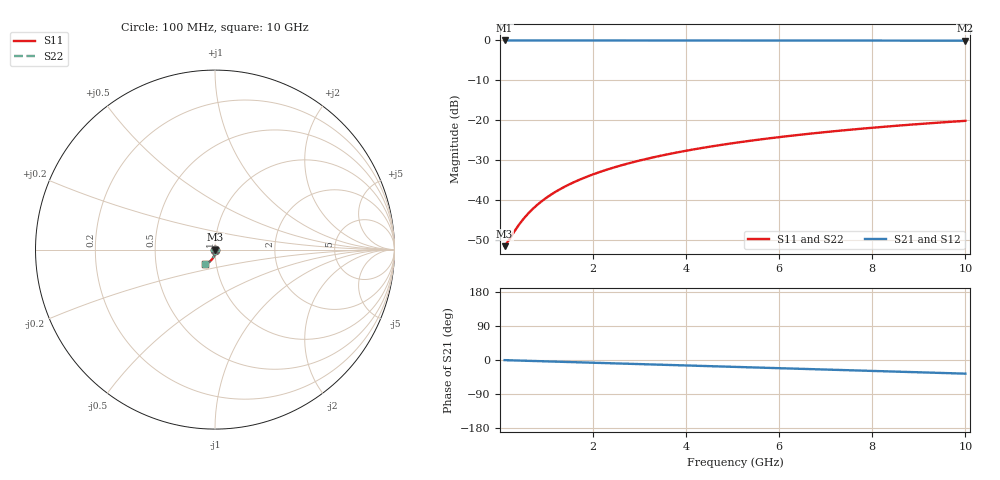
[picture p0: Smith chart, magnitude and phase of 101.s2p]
# Hz S RI R 50.00
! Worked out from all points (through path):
!   100 points, 100 MHz to 10 GHz, reference 50 ohm
!   highest |S21| = -0.02 dB at 100 MHz (marker M1); lowest = -0.1 dB at 10 GHz (marker M2)
!   group delay of S21, straight-line fit = 10 ps
!   lowest |S11| = -51.5 dB at 100 MHz (marker M3), VSWR 1.01, Z = 50.2 - j0.107 ohm
!   |S11| at or under -10 dB: start of sweep to end of sweep
!   |S22| runs from -51.5 to -20.1 dB; largest |S21 - S12| = 0
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1e8  0.00244 -0.00106  0.9975 -0.00627  0.9975 -0.00627  0.00244 -0.00106
2e8  0.00243 -0.00212  0.9974 -0.0125  0.9974 -0.0125  0.00243 -0.00212
3e8  0.00241 -0.00318  0.9973 -0.0188  0.9973 -0.0188  0.00241 -0.00318
4e8  0.00237 -0.00424  0.9972 -0.0251  0.9972 -0.0251  0.00237 -0.00424
5e8  0.00231 -0.0053  0.997 -0.0313  0.997 -0.0313  0.00231 -0.0053
6e8  0.00224 -0.00636  0.9967 -0.0376  0.9967 -0.0376  0.00224 -0.00636
7e8  0.00216 -0.00742  0.9965 -0.0438  0.9965 -0.0438  0.00216 -0.00742
8e8  0.00206 -0.00848  0.9962 -0.0501  0.9962 -0.0501  0.00206 -0.00848
1e9  0.00183 -0.0106  0.9954 -0.0626  0.9954 -0.0626  0.00183 -0.0106
1.2e9  0.00154 -0.0127  0.9945 -0.0751  0.9945 -0.0751  0.00154 -0.0127
1.5e9  0.00101 -0.0158  0.9928 -0.0938  0.9928 -0.0938  0.00101 -0.0158
1.8e9  0.00036 -0.019  0.9908 -0.1125  0.9908 -0.1125  0.00036 -0.019
2.1e9  -0.000408 -0.0221  0.9884 -0.1312  0.9884 -0.1312  -0.000408 -0.0221
2.5e9  -0.00161 -0.0261  0.9847 -0.156  0.9847 -0.156  -0.00161 -0.0261
2.9e9  -0.00302 -0.0302  0.9803 -0.1807  0.9803 -0.1807  -0.00302 -0.0302
3.4e9  -0.00506 -0.0351  0.974 -0.2113  0.974 -0.2113  -0.00506 -0.0351
4.2e9  -0.00896 -0.0427  0.9617 -0.2599  0.9617 -0.2599  -0.00896 -0.0427
5.1e9  -0.0142 -0.0507  0.945 -0.3138  0.945 -0.3138  -0.0142 -0.0507
5.9e9  -0.0196 -0.0573  0.9275 -0.3607  0.9275 -0.3607  -0.0196 -0.0573
6.7e9  -0.0257 -0.0633  0.9077 -0.4067  0.9077 -0.4067  -0.0257 -0.0633
8.4e9  -0.0404 -0.074  0.8579 -0.5006  0.8579 -0.5006  -0.0404 -0.074
1e10  -0.0559 -0.081  0.8021 -0.5834  0.8021 -0.5834  -0.0559 -0.081
